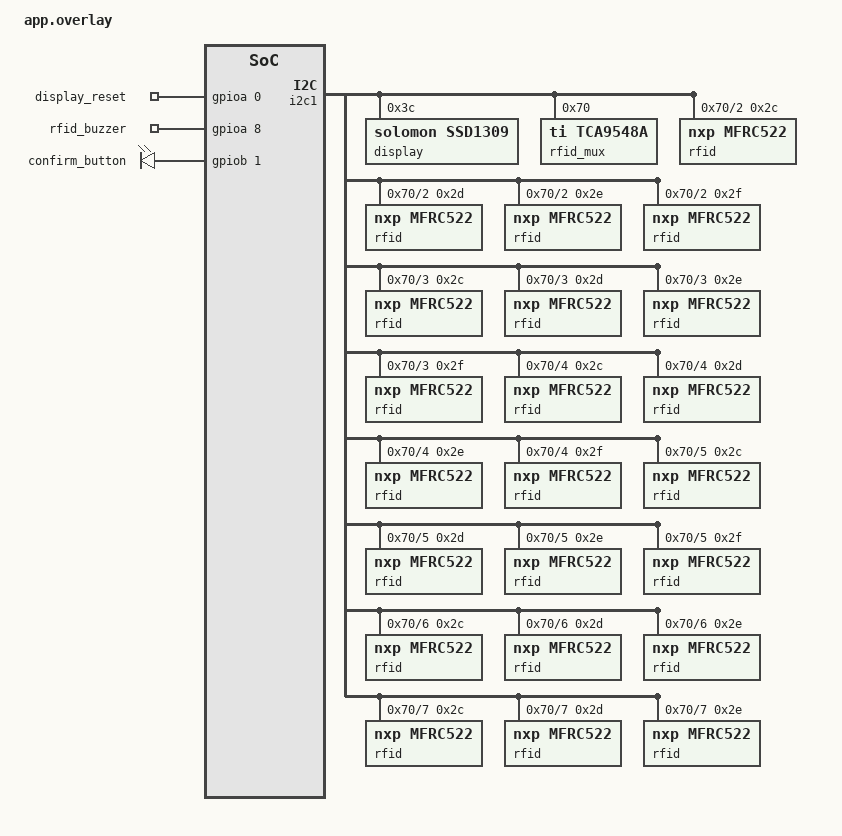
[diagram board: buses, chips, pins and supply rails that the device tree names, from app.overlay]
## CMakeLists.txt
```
cmake_minimum_required(VERSION 3.20.0)

find_package(Zephyr REQUIRED HINTS $ENV{ZEPHYR_BASE})
project(bearsink)

add_compile_options(-Wall -Werror)

file(GLOB_RECURSE C_SOURCE "*.c")
file(GLOB_RECURSE CPP_SOURCE "*.cpp")
target_sources(app PRIVATE ${C_SOURCE} ${CPP_SOURCE})
```

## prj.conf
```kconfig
CONFIG_COMPILER_TRACK_MACRO_EXPANSION=n
CONFIG_GPIO=y
CONFIG_STDOUT_CONSOLE=y
CONFIG_UART_INTERRUPT_DRIVEN=y
CONFIG_PRINTK=y
CONFIG_HEAP_MEM_POOL_SIZE=8192
CONFIG_KERNEL_MEM_POOL=y
CONFIG_I2C=y
CONFIG_I2C_TCA954X_CHANNEL_INIT_PRIO=62
CONFIG_I2C_TCA954X_ROOT_INIT_PRIO=61
CONFIG_SPI=y
CONFIG_LED_STRIP=y
CONFIG_CPP=y
```

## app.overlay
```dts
#include <zephyr/dt-bindings/gpio/gpio.h>

&leds {
	display_reset: display_reset {
		gpios = <&gpioa 0 GPIO_ACTIVE_HIGH>;
	};
	rfid_buzzer: buzzer {
		gpios = <&gpioa 8 GPIO_ACTIVE_HIGH>;
	};
	confirm_button: button {
		gpios = <&gpiob 1 GPIO_ACTIVE_HIGH>;
	};
};

&i2c1 {
	status = "okay";

	display: display@3c {
		reg = <0x3c>;
		status = "okay";
		compatible = "solomon,ssd1309";
	};

	rfid_mux: mux@70 {
		reg = <0x70>;
		status = "okay";
		compatible = "ti,tca9548a";
		#address-cells = <1>;
		#size-cells = <0>;

		mux_i2c@2 {
			reg = <2>;
			status = "okay";
			#address-cells = <1>;
			#size-cells = <0>;
			compatible = "ti,tca9548a-channel";

			rfid@2c {
				compatible = "nxp,mfrc522";
				reg = <0x2c>;
				status = "okay";
				bearsink,room = "LIBRARY";
			};

			rfid@2d {
				compatible = "nxp,mfrc522";
				reg = <0x2d>;
				status = "okay";
				bearsink,room = "PASSAGE";
			};

			rfid@2e {
				compatible = "nxp,mfrc522";
				reg = <0x2e>;
				status = "okay";
				bearsink,room = "CHAPEL";
			};

			rfid@2f {
				compatible = "nxp,mfrc522";
				reg = <0x2f>;
				status = "okay";
				bearsink,room = "NEST";
			};
		};

		mux_i2c@3 {
			reg = <3>;
			status = "okay";
			#address-cells = <1>;
			#size-cells = <0>;
			compatible = "ti,tca9548a-channel";

			rfid@2c {
				compatible = "nxp,mfrc522";
				reg = <0x2c>;
				status = "okay";
				bearsink,room = "BONEPIT";
			};

			rfid@2d {
				compatible = "nxp,mfrc522";
				reg = <0x2d>;
				status = "okay";
				bearsink,room = "NHALL";
			};

			rfid@2e {
				compatible = "nxp,mfrc522";
				reg = <0x2e>;
				status = "okay";
				bearsink,room = "TOMB";
			};

			rfid@2f {
				compatible = "nxp,mfrc522";
				reg = <0x2f>;
				status = "okay";
				bearsink,room = "GUARDEDWAY";
			};
		};

		mux_i2c@4 {
			reg = <4>;
			status = "okay";
			#address-cells = <1>;
			#size-cells = <0>;
			compatible = "ti,tca9548a-channel";

			rfid@2c {
				compatible = "nxp,mfrc522";
				reg = <0x2c>;
				status = "okay";
				bearsink,room = "CRYPT";
			};

			rfid@2d {
				compatible = "nxp,mfrc522";
				reg = <0x2d>;
				status = "okay";
				bearsink,room = "SHALL";
			};

			rfid@2e {
				compatible = "nxp,mfrc522";
				reg = <0x2e>;
				status = "okay";
				bearsink,room = "CANAL";
			};

			rfid@2f {
				compatible = "nxp,mfrc522";
				reg = <0x2f>;
				status = "okay";
				bearsink,room = "BATHROOM";
			};
		};


		mux_i2c@5 {
			reg = <5>;
			status = "okay";
			#address-cells = <1>;
			#size-cells = <0>;
			compatible = "ti,tca9548a-channel";

			rfid@2c {
				compatible = "nxp,mfrc522";
				reg = <0x2c>;
				status = "okay";
				bearsink,room = "RESOURCE_REQUEST";
			};

			rfid@2d {
				compatible = "nxp,mfrc522";
				reg = <0x2d>;
				status = "okay";
				bearsink,room = "DINING";
			};

			rfid@2e {
				compatible = "nxp,mfrc522";
				reg = <0x2e>;
				status = "okay";
				bearsink,room = "GALLERY";
			};

			rfid@2f {
				compatible = "nxp,mfrc522";
				reg = <0x2f>;
				status = "okay";
				bearsink,room = "BALLROOM";
			};
		};

		mux_i2c@6 {
			reg = <6>;
			status = "okay";
			#address-cells = <1>;
			#size-cells = <0>;
			compatible = "ti,tca9548a-channel";

			rfid@2c {
				compatible = "nxp,mfrc522";
				reg = <0x2c>;
				status = "okay";
				bearsink,room = "ENTRANCE";
			};

			rfid@2d {
				compatible = "nxp,mfrc522";
				reg = <0x2d>;
				status = "okay";
				bearsink,room = "CELLAR";
			};

			rfid@2e {
				compatible = "nxp,mfrc522";
				reg = <0x2e>;
				status = "okay";
				bearsink,room = "STAIRCASE";
			};
		};

		mux_i2c@7 {
			reg = <7>;
			status = "okay";
			#address-cells = <1>;
			#size-cells = <0>;
			compatible = "ti,tca9548a-channel";

			rfid@2c {
				compatible = "nxp,mfrc522";
				reg = <0x2c>;
				status = "okay";
				bearsink,room = "VENT";
			};

			rfid@2d {
				compatible = "nxp,mfrc522";
				reg = <0x2d>;
				status = "okay";
				bearsink,room = "DUNGEON";
			};

			rfid@2e {
				compatible = "nxp,mfrc522";
				reg = <0x2e>;
				status = "okay";
				bearsink,room = "ALLEY";
			};
		};
	};
};
```

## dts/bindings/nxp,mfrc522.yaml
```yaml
compatible: "nxp,mfrc522"

description: MFRC522 RFID/NFC reader accessed through I2C bus

include: [i2c-device.yaml]

properties:
  bearsink,room:
    type: string
    description: room.h room index associated with the reader
    required: true
```

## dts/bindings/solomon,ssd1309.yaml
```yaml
compatible: "solomon,ssd1309"

description: SSD1309 OLED Display module accessed through I2C bus

include: [i2c-device.yaml]
```

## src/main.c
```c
#include <stdio.h>
#include <math.h>

#include <zephyr/kernel.h>
#include <zephyr/init.h>

#include "buzzer.h"
#include "display.h"
#include "dracula.h"
#include "rfid.h"
#include "ui.h"

K_THREAD_STACK_DEFINE(rfid_stack, RFID_THREAD_STACK_SIZE);
struct k_thread rfid_thread_data;

k_tid_t rfid_thread_id;

int main()
{
    printk("Dracula!\n");

    buzzer_send(STARTUP);
    rfid_thread_id = k_thread_create(&rfid_thread_data, rfid_stack,
                                     K_THREAD_STACK_SIZEOF(rfid_stack),
                                     rfid_main,
                                     NULL, NULL, NULL,
                                     RFID_THREAD_PRIORITY, 0, K_NO_WAIT);
    printk("Initialisation done.\n");

    display_clear(0x00);
    ui_splash();
    // display_string("ABCDEFGHIJKLMNOPQRSTUVWXYZ0123456789", 0, 0);
    dracula_main();

    return 0;
}
```

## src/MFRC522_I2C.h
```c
/**
 * MFRC522_I2C.h - Library to use ARDUINO RFID MODULE KIT 13.56 MHZ WITH TAGS I2C BY AROZCAN
 * MFRC522_I2C.h - Based on ARDUINO RFID MODULE KIT 13.56 MHZ WITH TAGS SPI Library BY COOQROBOT.
 * Based on code Dr.Leong   ( WWW.B2CQSHOP.COM )
 * Created by Miguel Balboa (circuitito.com), Jan, 2012.
 * Rewritten by Søren Thing Andersen (access.thing.dk), fall of 2013 (Translation to English, refactored, comments, anti collision, cascade levels.)
 * Extended by Tom Clement with functionality to write to sector 0 of UID changeable Mifare cards.
 * Extended by Ahmet Remzi Ozcan with I2C functionality.
 * Released into the public domain.
 *
 * Please read this file for an overview and then MFRC522.cpp for comments on the specific functions.
 * Search for "mf-rc522" on ebay.com to purchase the MF-RC522 board.
 *
 * There are three hardware components involved:
 * 1) The micro controller: An Arduino
 * 2) The PCD (short for Proximity Coupling Device): NXP MFRC522 Contactless Reader IC
 * 3) The PICC (short for Proximity Integrated Circuit Card): A card or tag using the ISO 14443A interface, eg Mifare or NTAG203.
 *
 * The microcontroller and card reader uses I2C for communication.
 * The protocol is described in the MFRC522 datasheet: http://www.nxp.com/documents/data_sheet/MFRC522.pdf
 *
 * The card reader and the tags communicate using a 13.56MHz electromagnetic field.
 * The protocol is defined in ISO/IEC 14443-3 Identification cards -- Contactless integrated circuit cards -- Proximity cards -- Part 3: Initialization and anticollision".
 * A free version of the final draft can be found at http://wg8.de/wg8n1496_17n3613_Ballot_FCD14443-3.pdf
 * Details are found in chapter 6, Type A – Initialization and anticollision.
 *
 * If only the PICC UID is wanted, the above documents has all the needed information.
 * To read and write from MIFARE PICCs, the MIFARE protocol is used after the PICC has been selected.
 * The MIFARE Classic chips and protocol is described in the datasheets:
 *		1K:   http://www.nxp.com/documents/data_sheet/MF1S503x.pdf
 * 		4K:   http://www.nxp.com/documents/data_sheet/MF1S703x.pdf
 * 		Mini: http://www.idcardmarket.com/download/mifare_S20_datasheet.pdf
 * The MIFARE Ultralight chip and protocol is described in the datasheets:
 *		Ultralight:   http://www.nxp.com/documents/data_sheet/MF0ICU1.pdf
 * 		Ultralight C: http://www.nxp.com/documents/short_data_sheet/MF0ICU2_SDS.pdf
 *
 * MIFARE Classic 1K (MF1S503x):
 * 		Has 16 sectors * 4 blocks/sector * 16 bytes/block = 1024 bytes.
 * 		The blocks are numbered 0-63.
 * 		Block 3 in each sector is the Sector Trailer. See http://www.nxp.com/documents/data_sheet/MF1S503x.pdf sections 8.6 and 8.7:
 * 				Bytes 0-5:   Key A
 * 				Bytes 6-8:   Access Bits
 * 				Bytes 9:     User data
 * 				Bytes 10-15: Key B (or user data)
 * 		Block 0 is read-only manufacturer data.
 * 		To access a block, an authentication using a key from the block's sector must be performed first.
 * 		Example: To read from block 10, first authenticate using a key from sector 3 (blocks 8-11).
 * 		All keys are set to FFFFFFFFFFFFh at chip delivery.
 * 		Warning: Please read section 8.7 "Memory Access". It includes this text: if the PICC detects a format violation the whole sector is irreversibly blocked.
 *		To use a block in "value block" mode (for Increment/Decrement operations) you need to change the sector trailer. Use PICC_SetAccessBits() to calculate the bit patterns.
 * MIFARE Classic 4K (MF1S703x):
 * 		Has (32 sectors * 4 blocks/sector + 8 sectors * 16 blocks/sector) * 16 bytes/block = 4096 bytes.
 * 		The blocks are numbered 0-255.
 * 		The last block in each sector is the Sector Trailer like above.
 * MIFARE Classic Mini (MF1 IC S20):
 * 		Has 5 sectors * 4 blocks/sector * 16 bytes/block = 320 bytes.
 * 		The blocks are numbered 0-19.
 * 		The last block in each sector is the Sector Trailer like above.
 *
 * MIFARE Ultralight (MF0ICU1):
 * 		Has 16 pages of 4 bytes = 64 bytes.
 * 		Pages 0 + 1 is used for the 7-byte UID.
 * 		Page 2 contains the last check digit for the UID, one byte manufacturer internal data, and the lock bytes (see http://www.nxp.com/documents/data_sheet/MF0ICU1.pdf section 8.5.2)
 * 		Page 3 is OTP, One Time Programmable bits. Once set to 1 they cannot revert to 0.
 * 		Pages 4-15 are read/write unless blocked by the lock bytes in page 2.
 * MIFARE Ultralight C (MF0ICU2):
 * 		Has 48 pages of 4 bytes = 192 bytes.
 * 		Pages 0 + 1 is used for the 7-byte UID.
 * 		Page 2 contains the last check digit for the UID, one byte manufacturer internal data, and the lock bytes (see http://www.nxp.com/documents/data_sheet/MF0ICU1.pdf section 8.5.2)
 * 		Page 3 is OTP, One Time Programmable bits. Once set to 1 they cannot revert to 0.
 * 		Pages 4-39 are read/write unless blocked by the lock bytes in page 2.
 * 		Page 40 Lock bytes
 * 		Page 41 16 bit one way counter
 * 		Pages 42-43 Authentication configuration
 * 		Pages 44-47 Authentication key
 */
#ifndef MFRC522_h
#define MFRC522_h

#include <cstdint>
#include <cstddef>

#include <zephyr/drivers/i2c.h>

using byte = uint8_t;
using word = uint16_t;

// Firmware data for self-test
// Reference values based on firmware version
// Hint: if needed, you can remove unused self-test data to save flash memory
//
// Version 0.0 (0x90)
// Philips Semiconductors; Preliminary Specification Revision 2.0 - 01 August 2005; 16.1 Sefttest
const byte MFRC522_firmware_referenceV0_0[] = {
	0x00, 0x87, 0x98, 0x0f, 0x49, 0xFF, 0x07, 0x19,
	0xBF, 0x22, 0x30, 0x49, 0x59, 0x63, 0xAD, 0xCA,
	0x7F, 0xE3, 0x4E, 0x03, 0x5C, 0x4E, 0x49, 0x50,
	0x47, 0x9A, 0x37, 0x61, 0xE7, 0xE2, 0xC6, 0x2E,
	0x75, 0x5A, 0xED, 0x04, 0x3D, 0x02, 0x4B, 0x78,
	0x32, 0xFF, 0x58, 0x3B, 0x7C, 0xE9, 0x00, 0x94,
	0xB4, 0x4A, 0x59, 0x5B, 0xFD, 0xC9, 0x29, 0xDF,
	0x35, 0x96, 0x98, 0x9E, 0x4F, 0x30, 0x32, 0x8D
};
// Version 1.0 (0x91)
// NXP Semiconductors; Rev. 3.8 - 17 September 2014; 16.1.1 Self test
const byte MFRC522_firmware_referenceV1_0[] = {
	0x00, 0xC6, 0x37, 0xD5, 0x32, 0xB7, 0x57, 0x5C,
	0xC2, 0xD8, 0x7C, 0x4D, 0xD9, 0x70, 0xC7, 0x73,
	0x10, 0xE6, 0xD2, 0xAA, 0x5E, 0xA1, 0x3E, 0x5A,
	0x14, 0xAF, 0x30, 0x61, 0xC9, 0x70, 0xDB, 0x2E,
	0x64, 0x22, 0x72, 0xB5, 0xBD, 0x65, 0xF4, 0xEC,
	0x22, 0xBC, 0xD3, 0x72, 0x35, 0xCD, 0xAA, 0x41,
	0x1F, 0xA7, 0xF3, 0x53, 0x14, 0xDE, 0x7E, 0x02,
	0xD9, 0x0F, 0xB5, 0x5E, 0x25, 0x1D, 0x29, 0x79
};
// Version 2.0 (0x92)
// NXP Semiconductors; Rev. 3.8 - 17 September 2014; 16.1.1 Self test
const byte MFRC522_firmware_referenceV2_0[] = {
	0x00, 0xEB, 0x66, 0xBA, 0x57, 0xBF, 0x23, 0x95,
	0xD0, 0xE3, 0x0D, 0x3D, 0x27, 0x89, 0x5C, 0xDE,
	0x9D, 0x3B, 0xA7, 0x00, 0x21, 0x5B, 0x89, 0x82,
	0x51, 0x3A, 0xEB, 0x02, 0x0C, 0xA5, 0x00, 0x49,
	0x7C, 0x84, 0x4D, 0xB3, 0xCC, 0xD2, 0x1B, 0x81,
	0x5D, 0x48, 0x76, 0xD5, 0x71, 0x61, 0x21, 0xA9,
	0x86, 0x96, 0x83, 0x38, 0xCF, 0x9D, 0x5B, 0x6D,
	0xDC, 0x15, 0xBA, 0x3E, 0x7D, 0x95, 0x3B, 0x2F
};
// Clone
// Fudan Semiconductor FM17522 (0x88)
const byte FM17522_firmware_reference[] = {
	0x00, 0xD6, 0x78, 0x8C, 0xE2, 0xAA, 0x0C, 0x18,
	0x2A, 0xB8, 0x7A, 0x7F, 0xD3, 0x6A, 0xCF, 0x0B,
	0xB1, 0x37, 0x63, 0x4B, 0x69, 0xAE, 0x91, 0xC7,
	0xC3, 0x97, 0xAE, 0x77, 0xF4, 0x37, 0xD7, 0x9B,
	0x7C, 0xF5, 0x3C, 0x11, 0x8F, 0x15, 0xC3, 0xD7,
	0xC1, 0x5B, 0x00, 0x2A, 0xD0, 0x75, 0xDE, 0x9E,
	0x51, 0x64, 0xAB, 0x3E, 0xE9, 0x15, 0xB5, 0xAB,
	0x56, 0x9A, 0x98, 0x82, 0x26, 0xEA, 0x2A, 0x62
};

class MFRC522 {
public:
	// MFRC522 registers. Described in chapter 9 of the datasheet.
	enum PCD_Register {
		// Page 0: Command and status
		//						  0x00			// reserved for future use
		CommandReg				= 0x01 ,	// starts and stops command execution
		ComIEnReg				= 0x02 ,	// enable and disable interrupt request control bits
		DivIEnReg				= 0x03 ,	// enable and disable interrupt request control bits
		ComIrqReg				= 0x04 ,	// interrupt request bits
		DivIrqReg				= 0x05 ,	// interrupt request bits
		ErrorReg				= 0x06 ,	// error bits showing the error status of the last command executed
		Status1Reg				= 0x07 ,	// communication status bits
		Status2Reg				= 0x08 ,	// receiver and transmitter status bits
		FIFODataReg				= 0x09 ,	// input and output of 64 byte FIFO buffer
		FIFOLevelReg			= 0x0A ,	// number of bytes stored in the FIFO buffer
		WaterLevelReg			= 0x0B ,	// level for FIFO underflow and overflow warning
		ControlReg				= 0x0C ,	// miscellaneous control registers
		BitFramingReg			= 0x0D ,	// adjustments for bit-oriented frames
		CollReg					= 0x0E ,	// bit position of the first bit-collision detected on the RF interface
		//						  0x0F			// reserved for future use

		// Page 1: Command
		// 						  0x10			// reserved for future use
		ModeReg					= 0x11 ,	// defines general modes for transmitting and receiving
		TxModeReg				= 0x12 ,	// defines transmission data rate and framing
		RxModeReg				= 0x13 ,	// defines reception data rate and framing
		TxControlReg			= 0x14 ,	// controls the logical behavior of the antenna driver pins TX1 and TX2
		TxASKReg				= 0x15 ,	// controls the setting of the transmission modulation
		TxSelReg				= 0x16 ,	// selects the internal sources for the antenna driver
		RxSelReg				= 0x17 ,	// selects internal receiver settings
		RxThresholdReg			= 0x18 ,	// selects thresholds for the bit decoder
		DemodReg				= 0x19 ,	// defines demodulator settings
		// 						  0x1A			// reserved for future use
		// 						  0x1B			// reserved for future use
		MfTxReg					= 0x1C ,	// controls some MIFARE communication transmit parameters
		MfRxReg					= 0x1D ,	// controls some MIFARE communication receive parameters
		// 						  0x1E			// reserved for future use
		SerialSpeedReg			= 0x1F ,	// selects the speed of the serial UART interface

		// Page 2: Configuration
		// 						  0x20			// reserved for future use
		CRCResultRegH			= 0x21 ,	// shows the MSB and LSB values of the CRC calculation
		CRCResultRegL			= 0x22 ,
		// 						  0x23			// reserved for future use
		ModWidthReg				= 0x24 ,	// controls the ModWidth setting?
		// 						  0x25			// reserved for future use
		RFCfgReg				= 0x26 ,	// configures the receiver gain
		GsNReg					= 0x27 ,	// selects the conductance of the antenna driver pins TX1 and TX2 for modulation
		CWGsPReg				= 0x28 ,	// defines the conductance of the p-driver output during periods of no modulation
		ModGsPReg				= 0x29 ,	// defines the conductance of the p-driver output during periods of modulation
		TModeReg				= 0x2A ,	// defines settings for the internal timer
		TPrescalerReg			= 0x2B ,	// the lower 8 bits of the TPrescaler value. The 4 high bits are in TModeReg.
		TReloadRegH				= 0x2C ,	// defines the 16-bit timer reload value
		TReloadRegL				= 0x2D ,
		TCounterValueRegH		= 0x2E ,	// shows the 16-bit timer value
		TCounterValueRegL		= 0x2F ,

		// Page 3: Test Registers
		// 						  0x30			// reserved for future use
		TestSel1Reg				= 0x31 ,	// general test signal configuration
		TestSel2Reg				= 0x32 ,	// general test signal configuration
		TestPinEnReg			= 0x33 ,	// enables pin output driver on pins D1 to D7
		TestPinValueReg			= 0x34 ,	// defines the values for D1 to D7 when it is used as an I/O bus
		TestBusReg				= 0x35 ,	// shows the status of the internal test bus
		AutoTestReg				= 0x36 ,	// controls the digital self test
		VersionReg				= 0x37 ,	// shows the software version
		AnalogTestReg			= 0x38 ,	// controls the pins AUX1 and AUX2
		TestDAC1Reg				= 0x39 ,	// defines the test value for TestDAC1
		TestDAC2Reg				= 0x3A ,	// defines the test value for TestDAC2
		TestADCReg				= 0x3B 		// shows the value of ADC I and Q channels
		// 						  0x3C			// reserved for production tests
		// 						  0x3D			// reserved for production tests
		// 						  0x3E			// reserved for production tests
		// 						  0x3F			// reserved for production tests
	};

	// MFRC522 commands. Described in chapter 10 of the datasheet.
	enum PCD_Command {
		PCD_Idle				= 0x00,		// no action, cancels current command execution
		PCD_Mem					= 0x01,		// stores 25 bytes into the internal buffer
		PCD_GenerateRandomID	= 0x02,		// generates a 10-byte random ID number
		PCD_CalcCRC				= 0x03,		// activates the CRC coprocessor or performs a self test
		PCD_Transmit			= 0x04,		// transmits data from the FIFO buffer
		PCD_NoCmdChange			= 0x07,		// no command change, can be used to modify the CommandReg register bits without affecting the command, for example, the PowerDown bit
		PCD_Receive				= 0x08,		// activates the receiver circuits
		PCD_Transceive 			= 0x0C,		// transmits data from FIFO buffer to antenna and automatically activates the receiver after transmission
		PCD_MFAuthent 			= 0x0E,		// performs the MIFARE standard authentication as a reader
		PCD_SoftReset			= 0x0F		// resets the MFRC522
	};

	// MFRC522 RxGain[2:0] masks, defines the receiver's signal voltage gain factor (on the PCD).
	// Described in 9.3.3.6 / table 98 of the datasheet at http://www.nxp.com/documents/data_sheet/MFRC522.pdf
	enum PCD_RxGain {
		RxGain_18dB				= 0x00 << 4,	// 000b - 18 dB, minimum
		RxGain_23dB				= 0x01 << 4,	// 001b - 23 dB
		RxGain_18dB_2			= 0x02 << 4,	// 010b - 18 dB, it seems 010b is a duplicate for 000b
		RxGain_23dB_2			= 0x03 << 4,	// 011b - 23 dB, it seems 011b is a duplicate for 001b
		RxGain_33dB				= 0x04 << 4,	// 100b - 33 dB, average, and typical default
		RxGain_38dB				= 0x05 << 4,	// 101b - 38 dB
		RxGain_43dB				= 0x06 << 4,	// 110b - 43 dB
		RxGain_48dB				= 0x07 << 4,	// 111b - 48 dB, maximum
		RxGain_min				= 0x00 << 4,	// 000b - 18 dB, minimum, convenience for RxGain_18dB
		RxGain_avg				= 0x04 << 4,	// 100b - 33 dB, average, convenience for RxGain_33dB
		RxGain_max				= 0x07 << 4		// 111b - 48 dB, maximum, convenience for RxGain_48dB
	};

	// Commands sent to the PICC.
	enum PICC_Command {
		// The commands used by the PCD to manage communication with several PICCs (ISO 14443-3, Type A, section 6.4)
		PICC_CMD_REQA			= 0x26,		// REQuest command, Type A. Invites PICCs in state IDLE to go to READY and prepare for anticollision or selection. 7 bit frame.
		PICC_CMD_WUPA			= 0x52,		// Wake-UP command, Type A. Invites PICCs in state IDLE and HALT to go to READY(*) and prepare for anticollision or selection. 7 bit frame.
		PICC_CMD_CT				= 0x88,		// Cascade Tag. Not really a command, but used during anti collision.
		PICC_CMD_SEL_CL1		= 0x93,		// Anti collision/Select, Cascade Level 1
		PICC_CMD_SEL_CL2		= 0x95,		// Anti collision/Select, Cascade Level 2
		PICC_CMD_SEL_CL3		= 0x97,		// Anti collision/Select, Cascade Level 3
		PICC_CMD_HLTA			= 0x50,		// HaLT command, Type A. Instructs an ACTIVE PICC to go to state HALT.
		// The commands used for MIFARE Classic (from http://www.nxp.com/documents/data_sheet/MF1S503x.pdf, Section 9)
		// Use PCD_MFAuthent to authenticate access to a sector, then use these commands to read/write/modify the blocks on the sector.
		// The read/write commands can also be used for MIFARE Ultralight.
		PICC_CMD_MF_AUTH_KEY_A	= 0x60,		// Perform authentication with Key A
		PICC_CMD_MF_AUTH_KEY_B	= 0x61,		// Perform authentication with Key B
		PICC_CMD_MF_READ		= 0x30,		// Reads one 16 byte block from the authenticated sector of the PICC. Also used for MIFARE Ultralight.
		PICC_CMD_MF_WRITE		= 0xA0,		// Writes one 16 byte block to the authenticated sector of the PICC. Called "COMPATIBILITY WRITE" for MIFARE Ultralight.
		PICC_CMD_MF_DECREMENT	= 0xC0,		// Decrements the contents of a block and stores the result in the internal data register.
		PICC_CMD_MF_INCREMENT	= 0xC1,		// Increments the contents of a block and stores the result in the internal data register.
		PICC_CMD_MF_RESTORE		= 0xC2,		// Reads the contents of a block into the internal data register.
		PICC_CMD_MF_TRANSFER	= 0xB0,		// Writes the contents of the internal data register to a block.
		// The commands used for MIFARE Ultralight (from http://www.nxp.com/documents/data_sheet/MF0ICU1.pdf, Section 8.6)
		// The PICC_CMD_MF_READ and PICC_CMD_MF_WRITE can also be used for MIFARE Ultralight.
		PICC_CMD_UL_WRITE		= 0xA2		// Writes one 4 byte page to the PICC.
	};

	// MIFARE constants that does not fit anywhere else
	enum MIFARE_Misc {
		MF_ACK					= 0xA,		// The MIFARE Classic uses a 4 bit ACK/NAK. Any other value than 0xA is NAK.
		MF_KEY_SIZE				= 6			// A Mifare Crypto1 key is 6 bytes.
	};

	// PICC types we can detect. Remember to update PICC_GetTypeName() if you add more.
	enum PICC_Type {
		PICC_TYPE_UNKNOWN		= 0,
		PICC_TYPE_ISO_14443_4	= 1,	// PICC compliant with ISO/IEC 14443-4
		PICC_TYPE_ISO_18092		= 2, 	// PICC compliant with ISO/IEC 18092 (NFC)
		PICC_TYPE_MIFARE_MINI	= 3,	// MIFARE Classic protocol, 320 bytes
		PICC_TYPE_MIFARE_1K		= 4,	// MIFARE Classic protocol, 1KB
		PICC_TYPE_MIFARE_4K		= 5,	// MIFARE Classic protocol, 4KB
		PICC_TYPE_MIFARE_UL		= 6,	// MIFARE Ultralight or Ultralight C
		PICC_TYPE_MIFARE_PLUS	= 7,	// MIFARE Plus
		PICC_TYPE_TNP3XXX		= 8,	// Only mentioned in NXP AN 10833 MIFARE Type Identification Procedure
		PICC_TYPE_NOT_COMPLETE	= 255	// SAK indicates UID is not complete.
	};

	// Return codes from the functions in this class. Remember to update GetStatusCodeName() if you add more.
	enum StatusCode {
		STATUS_OK				= 1,	// Success
		STATUS_ERROR			= 2,	// Error in communication
		STATUS_COLLISION		= 3,	// Collission detected
		STATUS_TIMEOUT			= 4,	// Timeout in communication.
		STATUS_NO_ROOM			= 5,	// A buffer is not big enough.
		STATUS_INTERNAL_ERROR	= 6,	// Internal error in the code. Should not happen ;-)
		STATUS_INVALID			= 7,	// Invalid argument.
		STATUS_CRC_WRONG		= 8,	// The CRC_A does not match
		STATUS_MIFARE_NACK		= 9		// A MIFARE PICC responded with NAK.
	};

	// A struct used for passing the UID of a PICC.
	typedef struct {
		byte		size;			// Number of bytes in the UID. 4, 7 or 10.
		byte		uidByte[10];
		byte		sak;			// The SAK (Select acknowledge) byte returned from the PICC after successful selection.
	} Uid;

	// A struct used for passing a MIFARE Crypto1 key
	typedef struct {
		byte		keyByte[MF_KEY_SIZE];
	} MIFARE_Key;

	// Member variables
	Uid uid;								// Used by PICC_ReadCardSerial().
	const struct i2c_dt_spec *i2c; // Was private, but I need it to be public

	// Size of the MFRC522 FIFO
	static const byte FIFO_SIZE = 64;		// The FIFO is 64 bytes.

	MFRC522();
	MFRC522(const struct i2c_dt_spec *i2c);

	/////////////////////////////////////////////////////////////////////////////////////
	// Basic interface functions for communicating with the MFRC522
	/////////////////////////////////////////////////////////////////////////////////////
	void PCD_WriteRegister(byte reg, byte value);
	void PCD_WriteRegister(byte reg, byte count, byte *values);
	byte PCD_ReadRegister(byte reg);
	void PCD_ReadRegister(byte reg, byte count, byte *values, byte rxAlign = 0);
	void setBitMask(unsigned char reg, unsigned char mask);
	void PCD_SetRegisterBitMask(byte reg, byte mask);
	void PCD_ClearRegisterBitMask(byte reg, byte mask);
	byte PCD_CalculateCRC(byte *data, byte length, byte *result);

	/////////////////////////////////////////////////////////////////////////////////////
	// Functions for manipulating the MFRC522
	/////////////////////////////////////////////////////////////////////////////////////
	void PCD_Init();
	void PCD_Reset();
	void PCD_AntennaOn();
	void PCD_AntennaOff();
	byte PCD_GetAntennaGain();
	void PCD_SetAntennaGain(byte mask);
	bool PCD_PerformSelfTest();

	/////////////////////////////////////////////////////////////////////////////////////
	// Functions for communicating with PICCs
	/////////////////////////////////////////////////////////////////////////////////////
	byte PCD_TransceiveData(byte *sendData, byte sendLen, byte *backData, byte *backLen, byte *validBits = NULL, byte rxAlign = 0, bool checkCRC = false);
	byte PCD_CommunicateWithPICC(byte command, byte waitIRq, byte *sendData, byte sendLen, byte *backData = NULL, byte *backLen = NULL, byte *validBits = NULL, byte rxAlign = 0, bool checkCRC = false);
	byte PICC_RequestA(byte *bufferATQA, byte *bufferSize);
	byte PICC_WakeupA(byte *bufferATQA, byte *bufferSize);
	byte PICC_REQA_or_WUPA(byte command, byte *bufferATQA, byte *bufferSize);
	byte PICC_Select(Uid *uid, byte validBits = 0);
	byte PICC_HaltA();

	/////////////////////////////////////////////////////////////////////////////////////
	// Functions for communicating with MIFARE PICCs
	/////////////////////////////////////////////////////////////////////////////////////
	byte PCD_Authenticate(byte command, byte blockAddr, MIFARE_Key *key, Uid *uid);
	void PCD_StopCrypto1();
	byte MIFARE_Read(byte blockAddr, byte *buffer, byte *bufferSize);
	byte MIFARE_Write(byte blockAddr, byte *buffer, byte bufferSize);
	byte MIFARE_Decrement(byte blockAddr, long delta);
	byte MIFARE_Increment(byte blockAddr, long delta);
	byte MIFARE_Restore(byte blockAddr);
	byte MIFARE_Transfer(byte blockAddr);
	byte MIFARE_Ultralight_Write(byte page, const byte *buffer, byte bufferSize);
	byte MIFARE_GetValue(byte blockAddr, long *value);
	byte MIFARE_SetValue(byte blockAddr, long value);

	/////////////////////////////////////////////////////////////////////////////////////
	// Support functions
	/////////////////////////////////////////////////////////////////////////////////////
	byte PCD_MIFARE_Transceive(byte *sendData, byte sendLen, bool acceptTimeout = false);
	// old function used too much memory, now name moved to flash; if you need char, copy from flash to memory
	//const char *GetStatusCodeName(byte code);
	const char *GetStatusCodeName(byte code);
	byte PICC_GetType(byte sak);
	// old function used too much memory, now name moved to flash; if you need char, copy from flash to memory
	//const char *PICC_GetTypeName(byte type);
	const char *PICC_GetTypeName(byte type);
	void PICC_DumpToSerial(Uid *uid);
	void PICC_DumpMifareClassicToSerial(Uid *uid, byte piccType, MIFARE_Key *key);
	void PICC_DumpMifareClassicSectorToSerial(Uid *uid, MIFARE_Key *key, byte sector);
	void PICC_DumpMifareUltralightToSerial();
	void MIFARE_SetAccessBits(byte *accessBitBuffer, byte g0, byte g1, byte g2, byte g3);
	bool MIFARE_OpenUidBackdoor(bool logErrors);
	bool MIFARE_SetUid(byte *newUid, byte uidSize, bool logErrors);
	bool MIFARE_UnbrickUidSector(bool logErrors);

	/////////////////////////////////////////////////////////////////////////////////////
	// Convenience functions - does not add extra functionality
	/////////////////////////////////////////////////////////////////////////////////////
	bool PICC_IsNewCardPresent();
	bool PICC_ReadCardSerial();

private:
	byte MIFARE_TwoStepHelper(byte command, byte blockAddr, long data);
};

#endif
```

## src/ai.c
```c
#include "ai.h"
#include "room.h"
#include <stdlib.h>
#include <stdbool.h>
#include <time.h>

// #define DEBUG

#ifndef DEBUG
    #include "dracula.h"
    #include <zephyr/sys/printk.h>
    #define ASSERT(b, err_str) if (!(b)) printk("Assertion error: %s at (%s:%d)\n", err_str, __FILE__, __LINE__);
    char *room_names[] = {
        "NHALL",
        "TOMB",
        "GUARDEDWAY",
        "GALLERY",
        "ALLEY",
        "BONEPIT",
        "ENTRANCE",
        "VENT",
        "DUNGEON",
        "DINING",
        "LIBRARY",
        "CRYPT",
        "PASSAGE",
        "CHAPEL",
        "NEST",
        "BATHROOM",
        "CANAL",
        "STAIRCASE",
        "CELLAR",
        "SHALL",
        "BALLROOM",
        "RESOURCE"
    };
#else
    #include "../../prototypes/debug/debug.h"
    #include <stdio.h>
    #define ASSERT(b, err_str) if (!(b)) fprintf(stderr, "Assertion error: %s at (%s:%d)\n", err_str, __FILE__, __LINE__);
#endif


// number of rounds since the last time Dracula bit a player
static int last_bite;
// number of rounds since the last players received POSITIVE information on Dracula's position
static int last_info;
// Distribution of rooms where Dracula could be
static Room **dracula_rooms;
static struct RoomBuffer dracula_state;


#ifdef DEBUG
static void print_room_buffer(const struct RoomBuffer buf) {
    for (int i = 0; i < buf.length; i++) {
        printf("%s\n", room_names[buf.rooms[i]->room]);
    }
    printf("\n");
}
#else
static void print_room_buffer(const struct RoomBuffer buf) {
    for (int i = 0; i < buf.length; i++) {
        printk("%s\n", room_names[buf.rooms[i]->room]);
    }
    printk("\n");
}
#endif


void dracula_setup(void) {
    last_bite = 0; // needs to start at 0 for algos to work
    last_info = 0; // Players know Dracula's starting position
    dracula_rooms = malloc(NUM_ROOMS * sizeof(Room*));
    dracula_rooms[0] = &rooms[DUNGEON];
    dracula_state.length = 1;
    dracula_state.rooms = dracula_rooms;
    #ifdef DEBUG
    srand(time(NULL));
    #endif
}


void dracula_cleanup(void) {
    free(dracula_rooms);
}

/*
 * @brief Find the the rooms that can be reached in AT MOST length number of
 *  moves (without passing through any room in innaccessible) and store the
 *  result in start.
 *
 * @note starting and innaccessible must be disjoint
 *
 * @param[in] innaccessible : the rooms that Dracula is not permitted to enter
 * @param[in] length : the maximum number of moves into an adjacent room
 * @param[in,out] starting - the starting rooms. Store the result in here
 */
static void walk_ends(
        const struct RoomBuffer innaccessible,
        int length,
        struct RoomBuffer *const starting) {

    while (length > 0) {
        int len = starting->length;
        for (int i = 0; i < len; i++) {
            for (int j = 0; j < starting->rooms[i]->adjacent->length; j++) {
                Room *candidate = starting->rooms[i]->adjacent->rooms[j];
                if (contains_room(innaccessible, candidate) < 0) {
                    add_no_duplicate(starting, candidate);
                }
            }
        }
        length--;
    }
}


/*
 * @brief Find the least number of moves to get from any room in starting to the
 *  end room, without entering any innaccessible rooms. If this is impossible or
 *  requires more moves than DRACULA_MOVES,
 *  return DRACULA_MOVES + 1.
 * 
 * @note starting and innaccessible must be disjoint
 *
 * @param[in] innaccessible : the rooms that Dracula may not enter
 * @param[in] end : the room to find the least number of moves required to reach
 * @param[in] starting : collection of rooms in which Dracula may start
 */
static int shortest_walk(
        const struct RoomBuffer innaccessible,
        const Room *end,
        const struct RoomBuffer starting) {

    if (contains_room(innaccessible, end) >= 0) return DRACULA_MOVES + 1;

    // distribution is the rooms within num_moves of starting. We will mutate
    // this, so make sure we don't mess with starting
    Room **room_arr = malloc(NUM_ROOMS * sizeof(Room*));
    struct RoomBuffer distribution = room_buffer_from(starting, room_arr);

    for (int num_moves = 0; num_moves <= DRACULA_MOVES; num_moves++) {
        if (contains_room(distribution, end) >= 0) {
            free(room_arr);
            return num_moves;
        }
        walk_ends(innaccessible, 1, &distribution);
    }

    free(room_arr);
    return DRACULA_MOVES + 1;
}


/*
 * @brief this function exists for the case when Dracula starts his turn in a
 *  room with sunlight in it. Call at the start of Dracula's turn. If he is in a
 *  room with sunlight, move him out of the room and update his state.
 *  Otherwise, if Dracula is not in a room with sunlight in it, do nothing.
 *
 * @note this function reads and modifies internal dracula state.
 *
 * @param[in] st : the current game state
 *
 * @return the number of moves he has left on his turn. If there are no ways to
 *  move out of the sunlight room, return 0.
 */
static int turn_starts(const struct GameState *st) {
    int sunlight_index = contains_room(st->sunlights_to, dracula_state.rooms[0]);

    // Dracula is not in any room with sunlight
    if (dracula_state.length > 1 || sunlight_index < 0) return DRACULA_MOVES;

    Room **innacc_buf = malloc(NUM_PLAYERS * sizeof(Room*));
    struct RoomBuffer innaccessible = room_buffer_from(st->sunlights_to, innacc_buf);
    add_no_duplicate(&innaccessible, st->sunlights_from.rooms[sunlight_index]);
    walk_ends(innaccessible, 1, &dracula_state);

    // Dracula successfully moved out of the sunlight room
    if (dracula_state.length > 1 || sunlight_index < 0) {
        free(innacc_buf);
        return DRACULA_MOVES - 1;
    }

    // No way to escape.
    free(innacc_buf);
    return 0;
}


/*
 * @brief Given that Dracula MUST bite the player in bite_in before any other
 *  players (if it is possible), find the best sequence of players to bite.
 *
 * @param[in] num_moves : the number of moves that Dracula has remaining
 * @param[in] st : a pointer to the current game state
 * @param[in] start : the rooms to start the turn in
 * @param[in] bite_in : the room to bite a player in to start. This is not
 *  already loaded into bites.
 * @param[in] player_positions : the positions of all player who have not yet
 *  been bitten this turn, but can be. This includes bite_in
 * @param[out] bites : the buffer containing the bites so far, and to store the
 *  next bites
 * @param[out] ending_distribution : the buffer to store what Dracula's state
 *  should be if this bite is made.
 */
static void best_bite(
        int num_moves,
        const struct GameState *st,
        struct RoomBuffer start,
        Room *bite_in,
        struct RoomBuffer player_positions,
        struct RoomBuffer *bites,
        struct RoomBuffer *ending_distribution
        ) {

    // Compute innaccessible rooms for this step
    Room **innacc_buf = malloc(2*NUM_PLAYERS * sizeof(Room*));
    struct RoomBuffer innacc = room_buffer_from(st->sunlights_to, innacc_buf);
    remove_if_present(&player_positions, bite_in);
    concat_no_duplicate(&innacc, player_positions);

    // moves after this bite
    int remaining_moves = num_moves - shortest_walk(innacc, bite_in, start);

    // Base case:
    if (remaining_moves <= 0) {
        free(innacc_buf);
        return;
    }

    // Recursive step: either do nothing, or bite another player
    add_with_duplicate(bites, bite_in);

    // Do nothing
    ending_distribution->rooms[0] = bite_in;
    ending_distribution->length = 1;
    walk_ends(innacc, remaining_moves, ending_distribution);
    free(innacc_buf);
    // remove the rooms which are adjacent to some player
    Room **adj_buf = malloc(MAX_ADJ * sizeof(Room*));
    struct RoomBuffer unsafe; unsafe.rooms = adj_buf;
    // TODO: this makes the state correct, but ignores players who cannot be bitten
    for (int i = 0; i < player_positions.length; i++) {
        unsafe.rooms[0] = player_positions.rooms[i];
        unsafe.length = 1;
        walk_ends(EMPTY_BUFFER, 1, &unsafe);
        for (int j = 0; j < unsafe.length; j++) {
            remove_if_present(ending_distribution, unsafe.rooms[j]);
        }
    }
    free(adj_buf);

    // Bite another player on this turn
    Room **positions_buf = malloc(NUM_PLAYERS * sizeof(Room*));
    Room **bites_buf = malloc(NUM_PLAYERS * sizeof(Room*));
    Room **ending_buf = malloc(NUM_ROOMS * sizeof(Room*));
    for (int i = 0; i < player_positions.length; i++) {
        // setup start
        start.rooms[0] = bite_in;
        start.length = 1;
        struct RoomBuffer ending_copy = { .rooms = ending_buf, .length = 0 };
        struct RoomBuffer positions_copy = room_buffer_from(player_positions, positions_buf);
        struct RoomBuffer bites_copy = room_buffer_from(*bites, bites_buf);
        best_bite(
                remaining_moves,
                st,
                start,
                player_positions.rooms[i],
                positions_copy,
                &bites_copy,
                &ending_copy);

        // The best option is stored in bites and ending distribution
        if (bites_copy.length > bites->length
                || (bites_copy.length == bites->length
                    && ending_copy.length > ending_distribution->length)) {
            room_buffer_copy(bites, bites_copy);
            room_buffer_copy(ending_distribution, ending_copy);
        }
    }
    free(positions_buf);
    free(bites_buf);
    free(ending_buf);
}


/**
 * @brief Return a random floating point number between 0 and 1 (that is, sample
 * the standard uniform distribution)
 */
static inline float std_unif(void) {
    // TODO: get this bad boy to use hardware randomness
    return (float)rand() / (float)RAND_MAX;
}


/**
 * @brief Supposing Dracula must bite a player on his turn, determine the bite
 *  he will make on his turn using random weights and heuristics for number of
 *  players bitten, number of safe rooms in which to end the turn. If Dracula
 *  can bite more than one player on his turn, make that move.
 *
 * @param[in] num_moves : the number of moves Dracula has remaining in his turn
 * @param[in] st : a pointer to the current game state
 * @param[out] score : the score for the bite. This will be 0 if Dracula can
 *  make more than one bite, otherwise rand() * 1/(number of safe rooms)
 *  (say 1/0 = 1)
 * @param[out] bites : the rooms in which Dracula bites players
 * @param[out] ending_distribution : the ending distribution for Dracula
 *
 * @return if it is possible for Dracula to make ANY bite on his turn.
 */
static bool bite(
        int num_moves,
        const struct GameState *st,
        float *score,
        struct RoomBuffer *bites,
        struct RoomBuffer *ending_distribution) {

    if (st->can_bite_player_positions.length == 0) return false;

    // Base case for comparison
    bites->length = 0;
    ending_distribution->length = 0;
    *score = 1;

    // In-place sort of best bite option
    Room **start_buf = malloc(NUM_ROOMS * sizeof(Room*));
    Room **positions_buf = malloc(NUM_PLAYERS * sizeof(Room*));
    Room **bites_buf = malloc(NUM_PLAYERS * sizeof(Room*));
    Room **ending_buf = malloc(NUM_ROOMS * sizeof(Room*));
    struct RoomBuffer start_copy;
    struct RoomBuffer positions_copy;
    struct RoomBuffer bites_copy;
    struct RoomBuffer ending_copy;
    bites_copy.rooms = bites_buf;
    ending_copy.rooms = ending_buf;
    for (int i = 0; i < st->can_bite_player_positions.length; i++) {
        start_copy = room_buffer_from(dracula_state, start_buf);
        positions_copy = room_buffer_from(st->can_bite_player_positions, positions_buf);
        bites_copy.length = 0;
        ending_copy.length = 0;
        best_bite(
                num_moves,
                st,
                start_copy,
                st->can_bite_player_positions.rooms[i],
                positions_copy,
                &bites_copy,
                &ending_copy);

        // no bites.
        if (bites_copy.length == 0) continue;

        // score for safe rooms to end the turn
        // Don't round the score to 0 here - we want to compare the best way to
        // bite more than one player
        float safe = ending_copy.length ? ending_copy.length : 1;
        safe = std_unif() / safe;

        // in-place lex comparison - smaller score is better
        if (bites_copy.length > bites->length
                || (bites_copy.length == bites-> length && safe < *score)) {
            room_buffer_copy(bites, bites_copy);
            room_buffer_copy(ending_distribution, ending_copy);
            *score = safe;
        }
    }

    free(start_buf);
    free(positions_buf);
    free(bites_buf);
    free(ending_buf);

    // Now we can set the score to 0 (if necessary)
    if (bites->length > 1) *score = 0;
    return bites->length != 0; // false iff there is no possible bite
}


void dracula_turn(const struct GameState *st, struct RoomBuffer *bites) {
    last_bite++;
    last_info++;
    float bite_roll = ((float)last_bite / (float)WITHOUT_BITE) * std_unif();
    int num_moves = turn_starts(st);
    bites->length = 0;

    ASSERT(dracula_state.length > 0, "invalid Dracula state");
    // Literally nothing that Dracula can do
    if (num_moves <= 0) return;

    // Run the heuristic
    float bite_score;
    Room **ending = malloc(sizeof(Room*) * NUM_ROOMS);
    struct RoomBuffer ending_distribution;
    ending_distribution.rooms = ending;
    bool can_bite = bite(num_moves, st, &bite_score, bites, &ending_distribution);

    if (!can_bite || bite_score > bite_roll || !(st->can_bite)) { // no bite
        // update Dracula's state
        Room **innacc_buf = malloc(2*NUM_PLAYERS * sizeof(Room*));
        struct RoomBuffer innacc = room_buffer_from(st->sunlights_to, innacc_buf);
        // If Dracula is not allowed to bite, he can move through player rooms
        if (st->can_bite) concat_no_duplicate(&innacc, st->can_bite_player_positions);
        walk_ends(innacc, num_moves, &dracula_state);
        free(innacc_buf);
        bites->length = 0;
    } else { // BITE!
        remove_duplicate_rooms(bites);
        room_buffer_copy(&dracula_state, ending_distribution);
        // Edge case for if we do the bite, but there are NO safe rooms
        // NOTE: At the moment, this is dead code. However, in an implementation
        // where we don't take any shortcuts, it is necessary.
        if (dracula_state.length == 0) {
            add_with_duplicate(&dracula_state, bites->rooms[bites->length - 1]);
        }
        last_bite = 0;
        last_info = 0;
    }
    free(ending);

    #ifdef DEBUG
    printf("Dracula state:\n");
    #else
    printk("Dracula state:\n");
    #endif
    print_room_buffer(dracula_state);
}


bool dracula_is_present(Room *room) {
    ASSERT(dracula_state.length > 0, "invalid Dracula state");

    // Dracula cannot possibly be in the room
    if (contains_room(dracula_state, room) < 0) return false;

    float info_threshold = (float)last_info / (float)(dracula_state.length * WITHOUT_INFO);
    float bite_threshold = (float)last_bite / (float)(WITHOUT_BITE);
    float info_roll = std_unif();
    float bite_roll = std_unif();

    // Information given! update the state and last_info
    if (dracula_state.length == 1 // Dracula necessarily present
            || (info_roll <= info_threshold && bite_roll <= bite_threshold)) {
        dracula_state.rooms[0] = room;
        dracula_state.length = 1;
        last_info = 0;
        return true;
    }

    remove_if_present(&dracula_state, room);

    #ifdef DEBUG
    printf("Dracula state:\n");
    #else
    printk("Dracula state\n");
    #endif
    print_room_buffer(dracula_state);

    return false;
}
```

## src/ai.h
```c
#ifndef AI_H
#define AI_H

#include "room.h"
#include <stdbool.h>
#include <stdint.h>


///////////////////////////////////////////////////////////////////////////////
///                                                                         ///
///                             CONSTANTS                                   ///
///                                                                         ///
///////////////////////////////////////////////////////////////////////////////

#define NUM_PLAYERS 4 // the number of players in the game.
#define PASSIVENESS 2 // Generally just controls likelihoods for detection and
                      // bites

#define DRACULA_MOVES 3 // The number of spaces Dracula can move on his turn

// Constants controlling on how much more aggressive Dracula gets depending on:
#define WITHOUT_BITE 2 // the last bite
#define WITHOUT_INFO 2 // the last POSITIVE information (bites, detection with
                       // sunlight or a garlic


///////////////////////////////////////////////////////////////////////////////
///                                                                         ///
///                               TYPES                                     ///
///                                                                         ///
///////////////////////////////////////////////////////////////////////////////

struct GameState {
    // A buffer of players
    struct Player *players;
    // The remaining player health
    int8_t player_health;
    // The remaning number of garlics
    uint8_t garlic;
    // True if the current player is resting
    bool player_resting;
    // The current player index
    uint8_t cur_player;
    // The remaining Dracula health
    int8_t dracula_health;
    // Rooms that all of the players are in. If two players are in the same
    // room, include that room twice. (that is, counted with mulitplicity)
    struct RoomBuffer player_positions;
    // Just those rooms containing players who can be bitten (counted with
    // multiplicity)
    struct RoomBuffer can_bite_player_positions;
    // the rooms that sunlights are cast to and from, counted for multiplicity.
    // The sunlight cast to the room at index i is cast from the room at index
    // i of sunlights_from.
    struct RoomBuffer sunlights_to;
    struct RoomBuffer sunlights_from;
    struct RoomBuffer garlic_rooms;
    // true iff Dracula can bite a player on this turn
    bool can_bite;
};


///////////////////////////////////////////////////////////////////////////////
///                                                                         ///
///                             FUNCTIONS                                   ///
///                                                                         ///
///////////////////////////////////////////////////////////////////////////////

/**
 * @brief Call this at the start of a game to setup the intial internal Dracula
 * AI state.
 */
void dracula_setup(void);

/**
 * @brief Call this a the end of a game for Dracula to free any resources used
 * before the next run.
 */
void dracula_cleanup(void);

/**
 * @brief Dracula completes his turn and updates his internal state. Write to
 * bites the rooms that Dracula bites players in.
 *
 * @note The list of rooms does not contain any duplicates.
 *
 * @param[in] st the current game state
 * @param[out] bites a buffer with enough memory for 4 rooms
 */
void dracula_turn(const struct GameState *st, struct RoomBuffer *bites);

/**
 * @brief Dracula returns if he is present and updates his internal state.
 *
 * @param room[in] the room to check if Dracula is present
 *
 * @return true if and only if Dracula is present in the given room.
 */
bool dracula_is_present(Room *room);

#endif // AI_H
```

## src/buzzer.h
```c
#ifndef BUZZER_H
#define BUZZER_H

// The stack size of the buzzer thread.
#define BUZZER_THREAD_STACK_SIZE 1024

// The thread priority of the thread logic.
#define BUZZER_THREAD_PRIORITY 9

enum BuzzKind {
    STARTUP,
    READ_OK,
    READ_ERROR,
    TURN_OK,
    TURN_ERROR,
    TURN_END,
};

void buzzer_send(enum BuzzKind kind);

#endif // BUZZER_H
```

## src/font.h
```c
#ifndef FONT_H
#define FONT_H

#include "display.h"

/**
 * @brief Display string.
 * 
 * @param string The string to display.
 * @param x The x coordinate of the string.
 * @param y The y coordinate of the string.
 * 
 * @returns If the string was successfully displayed.
 */
int display_string(const char *string, unsigned int x, unsigned int y);

#endif // FONT_H
```
